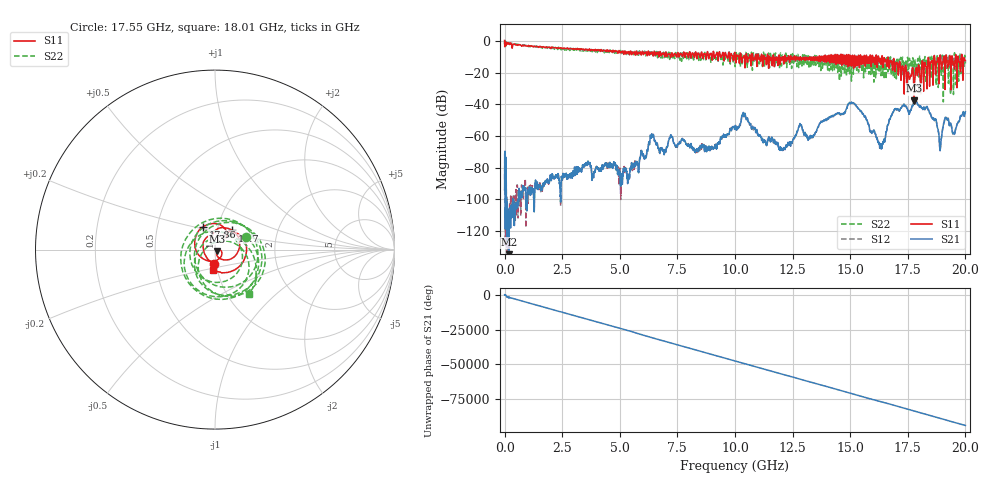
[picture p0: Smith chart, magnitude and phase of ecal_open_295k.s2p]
! MS46122B
! 2250307/22442219
! 7/31/2025 8:17:52 AM
! C:\USERS\SPARKY\DOCUMENTS\VNA_DATA\JULY31_2025\295K\ECAL_OPEN.S2P
! CHANNEL.1
! TR.MEASUREMENT
! RAW.DATA
# GHZ S RI R 50.0
! FREQ.GHZ  S11RE  S11IM  S21RE  S21IM  S12RE  S12IM  S22RE  S22IM
!; PortSelection: Port_12
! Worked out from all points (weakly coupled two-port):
!   10001 points, 1 MHz to 20 GHz, reference 50 ohm
!   highest |S21| = -38.18 dB at 17.77 GHz (marker M1); lowest = -137.0 dB at 179 MHz (marker M2)
!   lowest |S11| = -37.4 dB at 17.77 GHz (marker M3), VSWR 1.03, Z = 51.1 - j0.823 ohm
!   |S11| at or under -10 dB: 12.84 GHz to 13.4 GHz (564.7 MHz wide, 4.3 % of centre); 16.4 GHz to 18.63 GHz (2.234 GHz wide, 12.8 % of centre); 18.67 GHz to 18.89 GHz (223.1 MHz wide, 1.19 % of centre) (the widest 3 of 85)
!   |S22| runs from -38.5 to 0.0 dB; largest |S21 - S12| = 0.0038
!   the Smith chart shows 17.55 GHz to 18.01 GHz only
!   S11 on the Smith chart (normalised r, x): 17.55 GHz: 0.98, -0.16; 17.7 GHz: 1.18, +0.26; 17.86 GHz: 0.85, +0.22; 18.01 GHz: 0.95, -0.22
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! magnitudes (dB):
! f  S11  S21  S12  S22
! 1 MHz  0.4  -94.1  -87.4  -0.2
! 179 MHz  -1.1  -137.0  -112.4  -1.4
! 3.335 GHz  -4.9  -82.4  -82.6  -5.4
! 6.669 GHz  -7.3  -67.6  -68.0  -7.4
! 8.999 GHz  -11.2  -67.1  -66.8  -7.8
! 10 GHz  -7.6  -54.7  -54.9  -14.5
! 10.38 GHz  -9.3  -47.2  -47.4  -10.4
! 12.01 GHz  -10.4  -68.1  -68.4  -12.2
! 12.82 GHz  -10.0  -52.1  -53.0  -13.1
! 13.33 GHz  -10.2  -60.2  -59.9  -12.4
! 15.04 GHz  -11.0  -38.8  -38.8  -18.5
! 16.3 GHz  -11.0  -65.6  -65.5  -10.0
! 16.67 GHz  -13.2  -51.9  -52.1  -10.4
! 17.55 GHz  -21.9  -46.0  -46.0  -14.6
! 17.7 GHz  -16.8  -41.0  -41.0  -12.5
! 17.77 GHz  -37.4  -38.2  -38.3  -20.5
! 17.77 GHz  -36.8  -38.2  -38.2  -18.9
! 17.86 GHz  -16.8  -38.7  -38.6  -15.4
! 18.01 GHz  -18.9  -41.8  -42.0  -10.2
! 18.9 GHz  -8.7  -68.8  -69.0  -13.9
! 19.16 GHz  -8.7  -48.7  -48.2  -16.5
! 20 GHz  -12.4  -44.7  -45.3  -14.2
